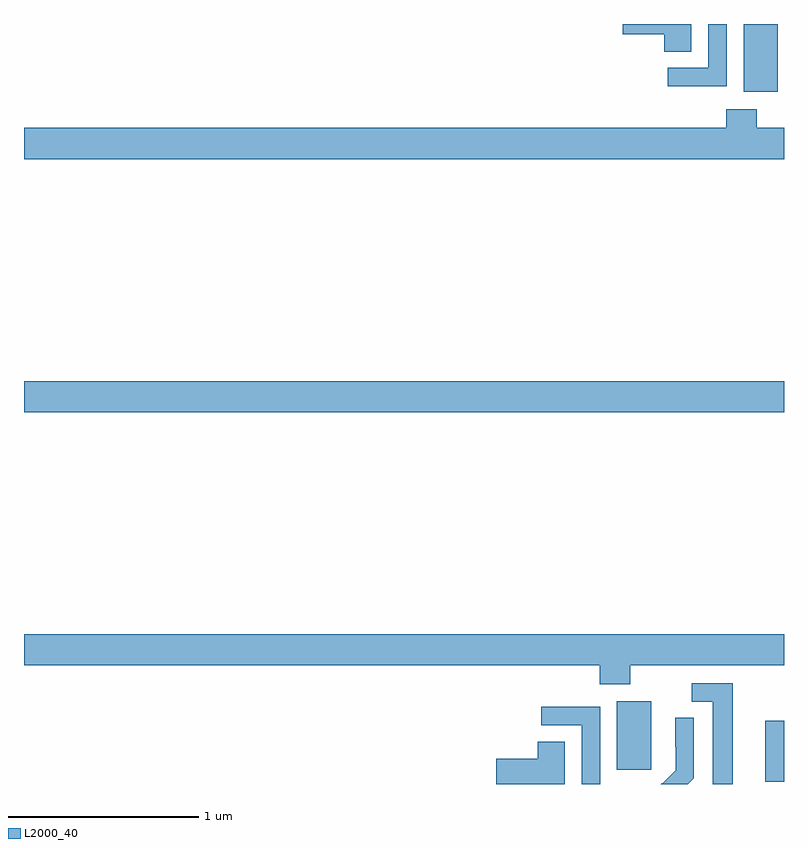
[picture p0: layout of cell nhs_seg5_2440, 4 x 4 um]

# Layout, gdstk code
import gdstk
lib = gdstk.Library(unit=1e-6, precision=1e-09)
def R(c, l, rs):  # rectangles x0, y0, x1, y1
    for r in rs: c.add(gdstk.rectangle(r[:2], r[2:], *l))
def P(c, l, *ps):  # polygons
    for p in ps: c.add(gdstk.Polygon(p, *l))
L2000_40 = (2000, 40)

nhs_seg5_2440 = lib.new_cell('nhs_seg5_2440')
R(nhs_seg5_2440, L2000_40, [(256.901,858.811,257,859.131), (256.121,858.873,256.3,859.234), (253,860.756,257,860.92), (256.787,862.442,256.966,862.799)])
P(nhs_seg5_2440, L2000_40, [(256.698,862.799),(256.602,862.799),(256.602,862.569),(256.389,862.569),(256.389,862.471),(256.698,862.471)],
  [(256.513,862.799),(256.152,862.799),(256.152,862.745),(256.37,862.745),(256.37,862.654),(256.513,862.654)],
  [(257,862.252),(256.857,862.252),(256.857,862.351),(256.697,862.351),(256.697,862.252),(253,862.252),(253,862.088),(257,862.088)],
  [(256.191,859.424),(257,859.424),(257,859.588),(253,859.588),(253,859.424),(256.031,859.424),(256.031,859.325),(256.191,859.325)],
  [(256.729,859.329),(256.515,859.329),(256.515,859.233),(256.625,859.233),(256.625,858.799),(256.729,858.799)],
  [(256.032,859.206),(255.723,859.206),(255.723,859.107),(255.936,859.107),(255.936,858.799),(256.032,858.799)],
  [(256.524,858.83),(256.524,859.148),(256.428,859.148),(256.428,858.994),(256.43,858.994),(256.43,858.872),(256.359,858.801),(256.356,858.804),(256.351,858.799),(256.493,858.799)],
  [(255.847,859.022),(255.704,859.022),(255.704,858.932),(255.486,858.932),(255.486,858.799),(255.847,858.799)])

lib.write_gds('nhs_seg5_2440.gds')
